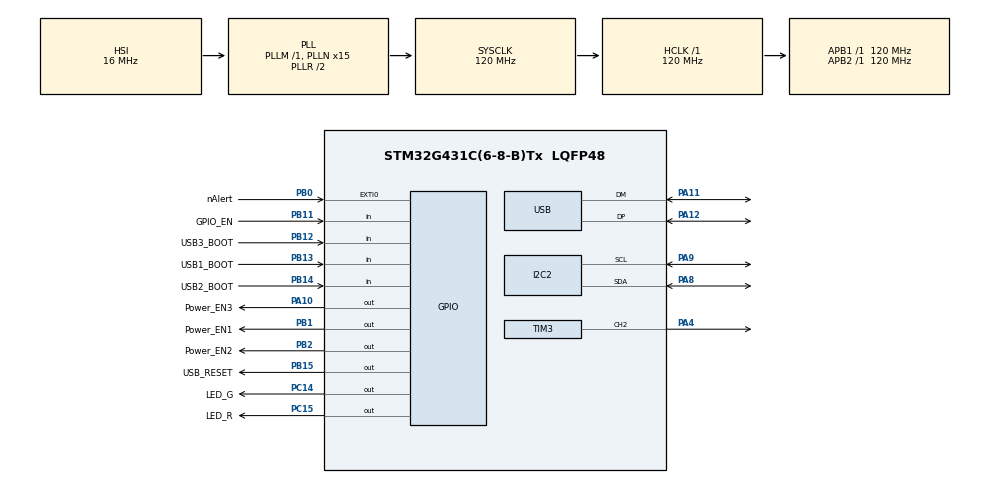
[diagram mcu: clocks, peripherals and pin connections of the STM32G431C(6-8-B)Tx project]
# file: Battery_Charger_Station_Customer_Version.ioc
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Dma.Request0=TIM3_CH2
Dma.TIM3_CH2.0.Direction=DMA_MEMORY_TO_PERIPH
Dma.TIM3_CH2.0.EventEnable=DISABLE
Dma.TIM3_CH2.0.Instance=DMA1_Channel2
Dma.TIM3_CH2.0.MemDataAlignment=DMA_MDATAALIGN_BYTE
Dma.TIM3_CH2.0.MemInc=DMA_MINC_ENABLE
Dma.TIM3_CH2.0.Mode=DMA_NORMAL
Dma.TIM3_CH2.0.PeriphDataAlignment=DMA_PDATAALIGN_WORD
Dma.TIM3_CH2.0.PeriphInc=DMA_PINC_DISABLE
Dma.TIM3_CH2.0.Polarity=HAL_DMAMUX_REQ_GEN_RISING
Dma.TIM3_CH2.0.Priority=DMA_PRIORITY_LOW
Dma.TIM3_CH2.0.RequestNumber=1
Dma.TIM3_CH2.0.SignalID=NONE
Dma.TIM3_CH2.0.SyncEnable=DISABLE
Dma.TIM3_CH2.0.SyncPolarity=HAL_DMAMUX_SYNC_NO_EVENT
Dma.TIM3_CH2.0.SyncRequestNumber=1
Dma.TIM3_CH2.0.SyncSignalID=NONE
I2C2.Timing=0x30A175AB
Mcu.Family=STM32G4
Mcu.Name=STM32G431C(6-8-B)Tx
Mcu.Package=LQFP48
NVIC.DMA1_Channel2_IRQn=true\:1\:0\:true\:false\:true\:false\:true\:true
NVIC.EXTI0_IRQn=true\:0\:0\:false\:false\:true\:true\:true\:true
NVIC.PriorityGroup=NVIC_PRIORITYGROUP_4
NVIC.TIM3_IRQn=true\:1\:0\:true\:false\:true\:true\:true\:true
NVIC.USB_LP_IRQn=true\:0\:0\:false\:false\:true\:true\:true\:true
PA0.Signal=ADC1_IN1
PA1.Signal=ADC1_IN2
PA10.GPIO_Label=Power_EN3
PA10.GPIO_ModeDefaultOutputPP=GPIO_MODE_OUTPUT_PP
PA10.GPIO_PuPd=GPIO_NOPULL
PA10.PinState=GPIO_PIN_RESET
PA10.Signal=GPIO_Output
PA11.Mode=Device
PA11.Signal=USB_DM
PA12.Mode=Device
PA12.Signal=USB_DP
PA13.Mode=JTAG_4_pins
PA13.Signal=SYS_JTMS-SWDIO
PA14.Mode=JTAG_4_pins
PA14.Signal=SYS_JTCK-SWCLK
PA15.Mode=JTAG_4_pins
PA15.Signal=SYS_JTDI
PA2.Signal=ADC1_IN3
PA4.Signal=S_TIM3_CH2
PA6.Signal=ADC2_IN3
PA8.GPIO_Pu=GPIO_PULLUP
PA8.Mode=I2C
PA8.Signal=I2C2_SDA
PA9.GPIO_Pu=GPIO_PULLUP
PA9.Mode=I2C
PA9.Signal=I2C2_SCL
PB0.GPIO_Label=nAlert
PB0.GPIO_ModeDefaultEXTI=GPIO_MODE_IT_FALLING
PB0.GPIO_PuPd=GPIO_NOPULL
PB0.Signal=GPXTI0
PB1.GPIO_Label=Power_EN1
PB1.Signal=GPIO_Output
PB11.GPIO_Label=GPIO_EN
PB11.GPIO_PuPd=GPIO_PULLUP
PB11.Signal=GPIO_Input
PB12.GPIO_Label=USB3_BOOT
PB12.Signal=GPIO_Input
PB13.GPIO_Label=USB1_BOOT
PB13.Signal=GPIO_Input
PB14.GPIO_Label=USB2_BOOT
PB14.Signal=GPIO_Input
PB15.GPIO_Label=USB_RESET
PB15.PinState=GPIO_PIN_SET
PB15.Signal=GPIO_Output
PB2.GPIO_Label=Power_EN2
PB2.Signal=GPIO_Output
PB3.Mode=JTAG_4_pins
PB3.Signal=SYS_JTDO-SWO
PC14-OSC32_IN.GPIO_Label=LED_G
PC14-OSC32_IN.Signal=GPIO_Output
PC15-OSC32_OUT.GPIO_Label=LED_R
PC15-OSC32_OUT.Signal=GPIO_Output
PF0-OSC_IN.GPIO_Label=OSC_IN
PF0-OSC_IN.Mode=HSE-External-Oscillator
PF0-OSC_IN.Signal=RCC_OSC_IN
PF1-OSC_OUT.GPIO_Label=OSC_OUT
PF1-OSC_OUT.Mode=HSE-External-Oscillator
PF1-OSC_OUT.Signal=RCC_OSC_OUT
ProjectManager.HeapSize=0x200
ProjectManager.StackSize=0x400
ProjectManager.TargetToolchain=STM32CubeIDE
RCC.ADC12Freq_Value=120000000
RCC.AHBFreq_Value=120000000
RCC.APB1Freq_Value=120000000
RCC.APB1TimFreq_Value=120000000
RCC.APB2Freq_Value=120000000
RCC.APB2TimFreq_Value=120000000
RCC.CK48CLockSelection=RCC_USBCLKSOURCE_HSI48
RCC.CortexFreq_Value=120000000
RCC.EXTERNAL_CLOCK_VALUE=12288000
RCC.HCLKFreq_Value=120000000
RCC.HSE_VALUE=16000000
RCC.HSI48_VALUE=48000000
RCC.HSI_VALUE=16000000
RCC.LSE_VALUE=32768
RCC.MSICalibrationValue=0
RCC.PLLN=15
RCC.SYSCLKFreq_VALUE=120000000
RCC.SYSCLKSource=RCC_SYSCLKSOURCE_PLLCLK
RCC.USBFreq_Value=48000000
RCC.VCOOutputFreq_Value=240000000
SH.S_TIM3_CH2.0=TIM3_CH2,PWM Generation2 CH2
TIM3.Channel-PWM\ Generation2\ CH2=TIM_CHANNEL_2
TIM3.PeriodNoDither=154
TIM3.PulseNoDither_2=50
VP_SYS_VS_DBSignals.Mode=DisableDeadBatterySignals
board=custom

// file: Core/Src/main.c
/* USER CODE BEGIN Header */
/**
  ******************************************************************************
  * @file           : main.c
  * @brief          : Main program body
  ******************************************************************************
  * @attention
  *
  * Copyright (c) 2024 STMicroelectronics.
  * All rights reserved.
  *
  * This software is licensed under terms that can be found in the LICENSE file
  * in the root directory of this software component.
  * If no LICENSE file comes with this software, it is provided AS-IS.
  *
  ******************************************************************************
  */
/* USER CODE END Header */
#include "main.h"

/* USER CODE BEGIN Includes */
#include <math.h>
#include "led_animation.h"
#include "usbd_cdc_if.h"
#include "usbd_def.h"
#include "usbd_desc.h"
#include "app_version.h"

// STM PD
#include "stusb4500.h"
/* USER CODE END Includes */

/* USER CODE BEGIN PD */
__attribute__((used, section(".fw_header"), aligned(4)))
const char fw_header[] = "APP_VERSION" APP_VERSION "\n";
/* USER CODE END PD */

I2C_HandleTypeDef hi2c2;

TIM_HandleTypeDef htim3;
DMA_HandleTypeDef hdma_tim3_ch2;

PCD_HandleTypeDef hpcd_USB_FS;

void SystemClock_Config(void);
static void MX_GPIO_Init(void);
static void MX_DMA_Init(void);
static void MX_TIM3_Init(void);
static void MX_USB_PCD_Init(void);
static void MX_I2C2_Init(void);

/* USER CODE BEGIN 0 */
enum INTERRUPT_STATUS {
	DEVICE_STATUS_IDLE = 							0x00,
	USB_STATUS_JUST_DISCONNECTED = 					0x01,
	USB_STATUS_CONNECTED = 							0x10,
	USB_STATUS_JUST_CONNECTED = 					0x11,
	BATTERY_STATUS_CHARGING = 						0x20,
	BATTERY_STATUS_CHARGING_STARTED = 				0x21,
	BATTERY_STATUS_CHARGING_TERMINATED = 			0x22,

	USB_STATUS_BAD_CHARGER_ATTACHED =				0x30,
	USB_STATUS_BAD_CHARGER_MID_POWER_ATTACHED =		0x31,
	USB_STATUS_BAD_CHARGER_LOW_POWER_ATTACHED =		0x32,
	USB_STATUS_BAD_CHARGER = 						0x34,
};
static volatile uint8_t CurrentDeviceStatus = DEVICE_STATUS_IDLE;

__attribute__((section(".noinit"))) volatile uint32_t MagicFlag;
const uint32_t DFU_FLAG_VALUE = 0xDEADBEEFUL;

static void CheckCurrentUSBPD(void)
{
	uint8_t total_charging_ports = 0;

	HAL_StatusTypeDef status = STUSB4500_ReadCurrentPDO(&total_charging_ports);
	if(status != HAL_OK) {
		if(status == HAL_ERROR) {
			Error_Handler();
		}
		return;
	}

	HAL_GPIO_WritePin(GPIOC, LED_R_Pin, GPIO_PIN_RESET);
	switch(total_charging_ports) {
		case 0:
		{
			  HAL_GPIO_WritePin(GPIOB, Power_EN1_Pin|Power_EN2_Pin, GPIO_PIN_SET);
			  HAL_GPIO_WritePin(Power_EN3_GPIO_Port, Power_EN3_Pin, GPIO_PIN_SET);
			HAL_GPIO_WritePin(GPIOC, LED_R_Pin, GPIO_PIN_SET);
			if(CurrentDeviceStatus != USB_STATUS_BAD_CHARGER) {
				CurrentDeviceStatus = USB_STATUS_BAD_CHARGER_ATTACHED;
			}
		}
		break;
		case 1:
		{
			  HAL_GPIO_WritePin(GPIOB, Power_EN1_Pin|Power_EN2_Pin, GPIO_PIN_SET);
			  HAL_GPIO_WritePin(Power_EN3_GPIO_Port, Power_EN3_Pin, GPIO_PIN_RESET);
   			  CurrentDeviceStatus = USB_STATUS_BAD_CHARGER_LOW_POWER_ATTACHED;
		}
		break;
		case 2:
		{
			  HAL_GPIO_WritePin(GPIOB, Power_EN1_Pin, GPIO_PIN_SET);
			  HAL_GPIO_WritePin(GPIOB, Power_EN2_Pin, GPIO_PIN_RESET);
			  HAL_GPIO_WritePin(Power_EN3_GPIO_Port, Power_EN3_Pin, GPIO_PIN_RESET);
  			  CurrentDeviceStatus = USB_STATUS_BAD_CHARGER_MID_POWER_ATTACHED;
		}
		break;
		case 3:
		default:
		{
			  HAL_GPIO_WritePin(GPIOB, Power_EN1_Pin|Power_EN2_Pin, GPIO_PIN_RESET);
			  HAL_GPIO_WritePin(Power_EN3_GPIO_Port, Power_EN3_Pin, GPIO_PIN_RESET);
			if(CurrentDeviceStatus == USB_STATUS_BAD_CHARGER) {
				CurrentDeviceStatus = USB_STATUS_JUST_DISCONNECTED;
			}
		}
		break;
	}
}

static void EnterDFUMode_Reset(void)
{
    __set_PRIMASK(1);  // Disable interrupts
    NVIC_SystemReset();
}

static void EnterDFUMode()
{
	if (MagicFlag != DFU_FLAG_VALUE)
	{
		return;
	}

	MagicFlag = 0;  // Clear flag

    void (*boot_jump)(void);
    uint32_t boot_address = 0x1FFF0000;  // System memory bootloader address

    __disable_irq();  // Disable all interrupts
    __HAL_RCC_SYSCFG_CLK_ENABLE();

    // Remap system memory to 0x00000000
    __HAL_SYSCFG_REMAPMEMORY_SYSTEMFLASH();

    // Set stack pointer to system memory
    __set_MSP(*(volatile uint32_t*)boot_address);

    // Set function pointer to reset vector
    boot_jump = (void (*)(void)) (*(volatile uint32_t*) (boot_address + 4));

    // Jump to system memory bootloader
    boot_jump();
}
/* USER CODE END 0 */

int main(void)
{

  /* MCU Configuration--------------------------------------------------------*/

  /* Reset of all peripherals, Initializes the Flash interface and the Systick. */
  HAL_Init();

  /* Configure the system clock */
  SystemClock_Config();

  /* USER CODE BEGIN SysInit */
  EnterDFUMode();
  MagicFlag = 0;
  /* USER CODE END SysInit */

  /* Initialize all configured peripherals */
  MX_GPIO_Init();
  MX_DMA_Init();
  MX_TIM3_Init();
  MX_USB_PCD_Init();
  MX_I2C2_Init();

  /* Infinite loop */
  /* USER CODE BEGIN WHILE */

  init_main_led_animation();
  led_animation_main();

  HAL_Delay(1000);  // wait for device restart

  bool is_ok = false;
  HAL_StatusTypeDef status = STUSB4500_ReadBackPDOs(&is_ok);
  if(HAL_OK == status) {
	  if(is_ok == false) {
		  HAL_GPIO_WritePin(GPIOC, LED_R_Pin, GPIO_PIN_SET);
		  if(HAL_OK != STUSB4500_Initialize()) {
			  Error_Handler();
		  }
		  HAL_GPIO_WritePin(GPIOC, LED_R_Pin, GPIO_PIN_RESET);
	  }
  }
  else {
	  Error_Handler();
  }

  CheckCurrentUSBPD();

  while (1)
  {
    /* USER CODE END WHILE */

  }
}

void SystemClock_Config(void)
{
  RCC_OscInitTypeDef RCC_OscInitStruct = {0};
  RCC_ClkInitTypeDef RCC_ClkInitStruct = {0};

  /** Configure the main internal regulator output voltage
  */
  HAL_PWREx_ControlVoltageScaling(PWR_REGULATOR_VOLTAGE_SCALE1);

  /** Initializes the RCC Oscillators according to the specified parameters
  * in the RCC_OscInitTypeDef structure.
  */
  RCC_OscInitStruct.OscillatorType = RCC_OSCILLATORTYPE_HSI|RCC_OSCILLATORTYPE_HSI48;
  RCC_OscInitStruct.HSIState = RCC_HSI_ON;
  RCC_OscInitStruct.HSICalibrationValue = RCC_HSICALIBRATION_DEFAULT;
  RCC_OscInitStruct.HSI48State = RCC_HSI48_ON;
  RCC_OscInitStruct.PLL.PLLState = RCC_PLL_ON;
  RCC_OscInitStruct.PLL.PLLSource = RCC_PLLSOURCE_HSI;
  RCC_OscInitStruct.PLL.PLLM = RCC_PLLM_DIV1;
  RCC_OscInitStruct.PLL.PLLN = 15;
  RCC_OscInitStruct.PLL.PLLP = RCC_PLLP_DIV2;
  RCC_OscInitStruct.PLL.PLLQ = RCC_PLLQ_DIV2;
  RCC_OscInitStruct.PLL.PLLR = RCC_PLLR_DIV2;
  if (HAL_RCC_OscConfig(&RCC_OscInitStruct) != HAL_OK)
  {
    Error_Handler();
  }

  /** Initializes the CPU, AHB and APB buses clocks
  */
  RCC_ClkInitStruct.ClockType = RCC_CLOCKTYPE_HCLK|RCC_CLOCKTYPE_SYSCLK
                              |RCC_CLOCKTYPE_PCLK1|RCC_CLOCKTYPE_PCLK2;
  RCC_ClkInitStruct.SYSCLKSource = RCC_SYSCLKSOURCE_PLLCLK;
  RCC_ClkInitStruct.AHBCLKDivider = RCC_SYSCLK_DIV1;
  RCC_ClkInitStruct.APB1CLKDivider = RCC_HCLK_DIV1;
  RCC_ClkInitStruct.APB2CLKDivider = RCC_HCLK_DIV1;

  if (HAL_RCC_ClockConfig(&RCC_ClkInitStruct, FLASH_LATENCY_3) != HAL_OK)
  {
    Error_Handler();
  }
}

static void MX_I2C2_Init(void)
{

  hi2c2.Instance = I2C2;
  hi2c2.Init.Timing = 0x30A175AB;
  hi2c2.Init.OwnAddress1 = 0;
  hi2c2.Init.AddressingMode = I2C_ADDRESSINGMODE_7BIT;
  hi2c2.Init.DualAddressMode = I2C_DUALADDRESS_DISABLE;
  hi2c2.Init.OwnAddress2 = 0;
  hi2c2.Init.OwnAddress2Masks = I2C_OA2_NOMASK;
  hi2c2.Init.GeneralCallMode = I2C_GENERALCALL_DISABLE;
  hi2c2.Init.NoStretchMode = I2C_NOSTRETCH_DISABLE;
  if (HAL_I2C_Init(&hi2c2) != HAL_OK)
  {
    Error_Handler();
  }

  /** Configure Analogue filter
  */
  if (HAL_I2CEx_ConfigAnalogFilter(&hi2c2, I2C_ANALOGFILTER_ENABLE) != HAL_OK)
  {
    Error_Handler();
  }

  /** Configure Digital filter
  */
  if (HAL_I2CEx_ConfigDigitalFilter(&hi2c2, 0) != HAL_OK)
  {
    Error_Handler();
  }

}

static void MX_TIM3_Init(void)
{

  TIM_MasterConfigTypeDef sMasterConfig = {0};
  TIM_OC_InitTypeDef sConfigOC = {0};

  htim3.Instance = TIM3;
  htim3.Init.Prescaler = 0;
  htim3.Init.CounterMode = TIM_COUNTERMODE_UP;
  htim3.Init.Period = 154;
  htim3.Init.ClockDivision = TIM_CLOCKDIVISION_DIV1;
  htim3.Init.AutoReloadPreload = TIM_AUTORELOAD_PRELOAD_DISABLE;
  if (HAL_TIM_PWM_Init(&htim3) != HAL_OK)
  {
    Error_Handler();
  }
  sMasterConfig.MasterOutputTrigger = TIM_TRGO_RESET;
  sMasterConfig.MasterSlaveMode = TIM_MASTERSLAVEMODE_DISABLE;
  if (HAL_TIMEx_MasterConfigSynchronization(&htim3, &sMasterConfig) != HAL_OK)
  {
    Error_Handler();
  }
  sConfigOC.OCMode = TIM_OCMODE_PWM1;
  sConfigOC.Pulse = 50;
  sConfigOC.OCPolarity = TIM_OCPOLARITY_HIGH;
  sConfigOC.OCFastMode = TIM_OCFAST_DISABLE;
  if (HAL_TIM_PWM_ConfigChannel(&htim3, &sConfigOC, TIM_CHANNEL_2) != HAL_OK)
  {
    Error_Handler();
  }
  HAL_TIM_MspPostInit(&htim3);

}

static void MX_USB_PCD_Init(void)
{

  /* USER CODE BEGIN USB_Init 0 */
	hpcd_USB_FS.pData = &hUsbDeviceFS;
  /* USER CODE END USB_Init 0 */

  hpcd_USB_FS.Instance = USB;
  hpcd_USB_FS.Init.dev_endpoints = 8;
  hpcd_USB_FS.Init.speed = PCD_SPEED_FULL;
  hpcd_USB_FS.Init.phy_itface = PCD_PHY_EMBEDDED;
  hpcd_USB_FS.Init.Sof_enable = DISABLE;
  hpcd_USB_FS.Init.low_power_enable = DISABLE;
  hpcd_USB_FS.Init.lpm_enable = DISABLE;
  hpcd_USB_FS.Init.battery_charging_enable = DISABLE;
  if (HAL_PCD_Init(&hpcd_USB_FS) != HAL_OK)
  {
    Error_Handler();
  }
  /* USER CODE BEGIN USB_Init 2 */
	if(USBD_Init(&hUsbDeviceFS, &Class_Desc, 0) != USBD_OK)
	{
		Error_Handler();
	}

	if (USBD_RegisterClass(&hUsbDeviceFS, &USBD_CDC) != USBD_OK)
	{
		Error_Handler();
	}

	if(USBD_CDC_RegisterInterface(&hUsbDeviceFS, &USBD_CDC_Template_fops) != USBD_OK)
	{
		Error_Handler();
	}

	if(USBD_Start(&hUsbDeviceFS) != USBD_OK)
	{
		Error_Handler();
	}
  /* USER CODE END USB_Init 2 */

}

static void MX_DMA_Init(void)
{

  /* DMA controller clock enable */
  __HAL_RCC_DMAMUX1_CLK_ENABLE();
  __HAL_RCC_DMA1_CLK_ENABLE();

  /* DMA interrupt init */
  /* DMA1_Channel2_IRQn interrupt configuration */
  HAL_NVIC_SetPriority(DMA1_Channel2_IRQn, 1, 0);
  HAL_NVIC_EnableIRQ(DMA1_Channel2_IRQn);

}

static void MX_GPIO_Init(void)
{
  GPIO_InitTypeDef GPIO_InitStruct = {0};

  /* GPIO Ports Clock Enable */
  __HAL_RCC_GPIOC_CLK_ENABLE();
  __HAL_RCC_GPIOF_CLK_ENABLE();
  __HAL_RCC_GPIOA_CLK_ENABLE();
  __HAL_RCC_GPIOB_CLK_ENABLE();

  /*Configure GPIO pin Output Level */
  HAL_GPIO_WritePin(GPIOC, LED_G_Pin|LED_R_Pin, GPIO_PIN_RESET);

  /*Configure GPIO pin Output Level */
  HAL_GPIO_WritePin(GPIOB, Power_EN1_Pin|Power_EN2_Pin, GPIO_PIN_RESET);

  /*Configure GPIO pin Output Level */
  HAL_GPIO_WritePin(USB_RESET_GPIO_Port, USB_RESET_Pin, GPIO_PIN_SET);

  /*Configure GPIO pin Output Level */
  HAL_GPIO_WritePin(Power_EN3_GPIO_Port, Power_EN3_Pin, GPIO_PIN_RESET);

  /*Configure GPIO pins : LED_G_Pin LED_R_Pin */
  GPIO_InitStruct.Pin = LED_G_Pin|LED_R_Pin;
  GPIO_InitStruct.Mode = GPIO_MODE_OUTPUT_PP;
  GPIO_InitStruct.Pull = GPIO_NOPULL;
  GPIO_InitStruct.Speed = GPIO_SPEED_FREQ_LOW;
  HAL_GPIO_Init(GPIOC, &GPIO_InitStruct);

  /*Configure GPIO pins : PA0 PA1 PA2 PA6 */
  GPIO_InitStruct.Pin = GPIO_PIN_0|GPIO_PIN_1|GPIO_PIN_2|GPIO_PIN_6;
  GPIO_InitStruct.Mode = GPIO_MODE_ANALOG;
  GPIO_InitStruct.Pull = GPIO_NOPULL;
  HAL_GPIO_Init(GPIOA, &GPIO_InitStruct);

  /*Configure GPIO pin : nAlert_Pin */
  GPIO_InitStruct.Pin = nAlert_Pin;
  GPIO_InitStruct.Mode = GPIO_MODE_IT_FALLING;
  GPIO_InitStruct.Pull = GPIO_NOPULL;
  HAL_GPIO_Init(nAlert_GPIO_Port, &GPIO_InitStruct);

  /*Configure GPIO pins : Power_EN1_Pin Power_EN2_Pin USB_RESET_Pin */
  GPIO_InitStruct.Pin = Power_EN1_Pin|Power_EN2_Pin|USB_RESET_Pin;
  GPIO_InitStruct.Mode = GPIO_MODE_OUTPUT_PP;
  GPIO_InitStruct.Pull = GPIO_NOPULL;
  GPIO_InitStruct.Speed = GPIO_SPEED_FREQ_LOW;
  HAL_GPIO_Init(GPIOB, &GPIO_InitStruct);

  /*Configure GPIO pin : GPIO_EN_Pin */
  GPIO_InitStruct.Pin = GPIO_EN_Pin;
  GPIO_InitStruct.Mode = GPIO_MODE_INPUT;
  GPIO_InitStruct.Pull = GPIO_PULLUP;
  HAL_GPIO_Init(GPIO_EN_GPIO_Port, &GPIO_InitStruct);

  /*Configure GPIO pins : USB3_BOOT_Pin USB1_BOOT_Pin USB2_BOOT_Pin */
  GPIO_InitStruct.Pin = USB3_BOOT_Pin|USB1_BOOT_Pin|USB2_BOOT_Pin;
  GPIO_InitStruct.Mode = GPIO_MODE_INPUT;
  GPIO_InitStruct.Pull = GPIO_NOPULL;
  HAL_GPIO_Init(GPIOB, &GPIO_InitStruct);

  /*Configure GPIO pin : Power_EN3_Pin */
  GPIO_InitStruct.Pin = Power_EN3_Pin;
  GPIO_InitStruct.Mode = GPIO_MODE_OUTPUT_PP;
  GPIO_InitStruct.Pull = GPIO_NOPULL;
  GPIO_InitStruct.Speed = GPIO_SPEED_FREQ_LOW;
  HAL_GPIO_Init(Power_EN3_GPIO_Port, &GPIO_InitStruct);

  /* EXTI interrupt init*/
  HAL_NVIC_SetPriority(EXTI0_IRQn, 0, 0);
  HAL_NVIC_EnableIRQ(EXTI0_IRQn);

}

/* USER CODE BEGIN 4 */
void HAL_TIM_PWM_PulseFinishedCallback(TIM_HandleTypeDef *htim)
{
	HAL_TIM_PWM_Stop_DMA(&htim3, TIM_CHANNEL_2);

	switch(CurrentDeviceStatus)
	{
	case USB_STATUS_BAD_CHARGER_ATTACHED:
	{
		CurrentDeviceStatus = USB_STATUS_BAD_CHARGER;
		init_led_animation_power_error();
	}
		break;
	case USB_STATUS_BAD_CHARGER_MID_POWER_ATTACHED:
	{
		CurrentDeviceStatus = USB_STATUS_BAD_CHARGER;
		init_led_animation_mid_power_error();
	}
		break;
	case USB_STATUS_BAD_CHARGER_LOW_POWER_ATTACHED:
	{
		CurrentDeviceStatus = USB_STATUS_BAD_CHARGER;
		init_led_animation_low_power_error();
	}
		break;
	case USB_STATUS_JUST_CONNECTED:
	{
		CurrentDeviceStatus = USB_STATUS_CONNECTED;
		init_usb_connected_led_animation();
	}
		break;
	case USB_STATUS_JUST_DISCONNECTED:
	{
		CurrentDeviceStatus = DEVICE_STATUS_IDLE;
		if (MagicFlag == DFU_FLAG_VALUE)
		{
			EnterDFUMode_Reset();
		}
		init_main_led_animation();
	}
		break;
	case BATTERY_STATUS_CHARGING_STARTED:
	{
		CurrentDeviceStatus = BATTERY_STATUS_CHARGING;
		init_charging_led_animation();
	}
		break;
	case BATTERY_STATUS_CHARGING_TERMINATED:
	{
		CurrentDeviceStatus = DEVICE_STATUS_IDLE;
		init_charging_termination_led_animation();
	}
		break;
	}
	led_animation_main();
}

void HAL_PCD_SuspendCallback(PCD_HandleTypeDef *hpcd)
{
	CurrentDeviceStatus = USB_STATUS_JUST_DISCONNECTED;
}

void HAL_PCD_ResumeCallback(PCD_HandleTypeDef *hpcd)
{
	CurrentDeviceStatus = USB_STATUS_JUST_CONNECTED;
}

void HAL_GPIO_EXTI_Callback(uint16_t GPIO_Pin)
{
	if(nAlert_Pin == GPIO_Pin) {
		bool received = false;
		if(HAL_OK == STUSB4500_CheckSourceCapsReceived(&received)) {
			if(received) {
				CheckCurrentUSBPD();
			}
		}
	}
}
/* USER CODE END 4 */

void Error_Handler(void)
{
  /* USER CODE BEGIN Error_Handler_Debug */
  /* User can add his own implementation to report the HAL error return state */
	HAL_NVIC_SystemReset();
  /* USER CODE END Error_Handler_Debug */
}
